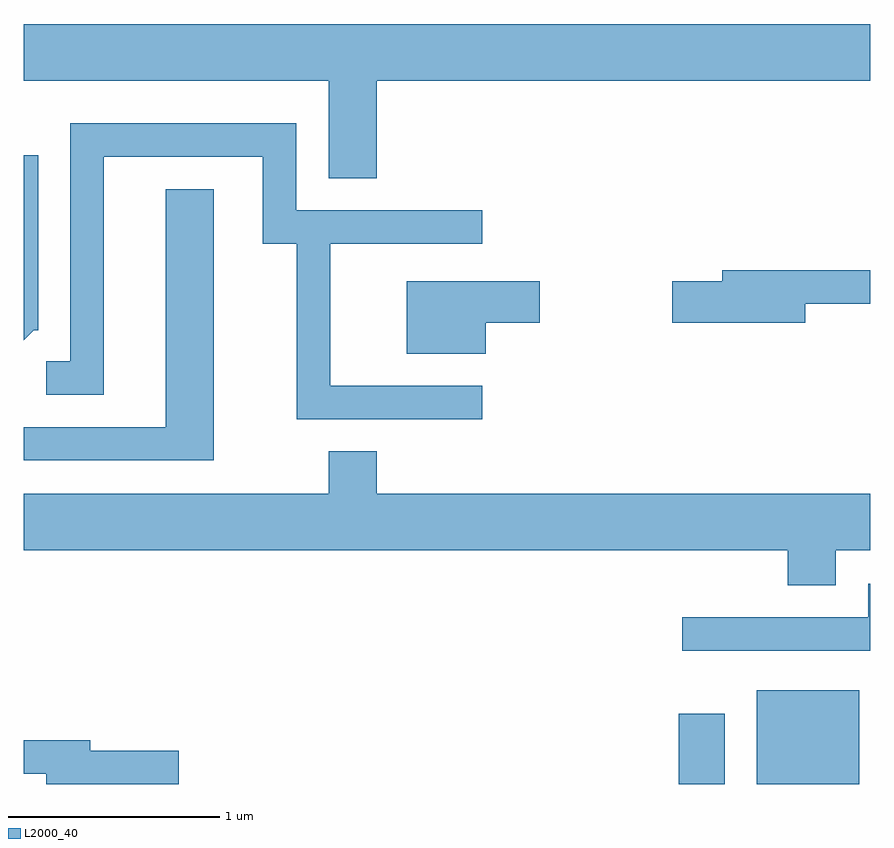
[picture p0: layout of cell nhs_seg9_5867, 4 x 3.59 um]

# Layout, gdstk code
import gdstk
lib = gdstk.Library(unit=1e-6, precision=1e-09)
def R(c, l, rs):  # rectangles x0, y0, x1, y1
    for r in rs: c.add(gdstk.rectangle(r[:2], r[2:], *l))
def P(c, l, *ps):  # polygons
    for p in ps: c.add(gdstk.Polygon(p, *l))
L2000_40 = (2000, 40)

nhs_seg9_5867 = lib.new_cell('nhs_seg9_5867')
R(nhs_seg9_5867, L2000_40, [(360.706,2048.432,360.924,2048.764), (361.076,2048.432,361.559,2048.874)])
P(nhs_seg9_5867, L2000_40, [(359.279,2051.756),(361.611,2051.756),(361.611,2052.024),(357.611,2052.024),(357.611,2051.756),(359.051,2051.756),(359.051,2051.296),(359.279,2051.296)],
  [(359.778,2050.314),(359.059,2050.314),(359.059,2050.986),(359.778,2050.986),(359.778,2051.144),(358.899,2051.144),(358.899,2051.554),(357.831,2051.554),(357.831,2050.429),(357.718,2050.429),(357.718,2050.271),(357.989,2050.271),(357.989,2051.396),(358.741,2051.396),(358.741,2050.986),(358.901,2050.986),(358.901,2050.156),(359.778,2050.156)],
  [(357.657,2050.576),(357.679,2050.576),(357.679,2051.404),(357.611,2051.404),(357.611,2050.53)],
  [(358.509,2051.244),(358.281,2051.244),(358.281,2050.119),(357.611,2050.119),(357.611,2049.961),(358.509,2049.961)],
  [(361.304,2050.701),(361.611,2050.701),(361.611,2050.859),(360.911,2050.859),(360.911,2050.809),(360.676,2050.809),(360.676,2050.611),(361.304,2050.611)],
  [(359.794,2050.611),(360.049,2050.611),(360.049,2050.809),(359.421,2050.809),(359.421,2050.466),(359.794,2050.466)],
  [(361.449,2049.536),(361.611,2049.536),(361.611,2049.804),(359.279,2049.804),(359.279,2050.004),(359.051,2050.004),(359.051,2049.804),(357.611,2049.804),(357.611,2049.536),(361.221,2049.536),(361.221,2049.371),(361.449,2049.371)],
  [(361.611,2049.379),(361.601,2049.379),(361.601,2049.219),(360.723,2049.219),(360.723,2049.061),(361.611,2049.061)],
  [(358.344,2048.589),(357.924,2048.589),(357.924,2048.639),(357.611,2048.639),(357.611,2048.481),(357.716,2048.481),(357.716,2048.432),(358.344,2048.432)])

lib.write_gds('nhs_seg9_5867.gds')
